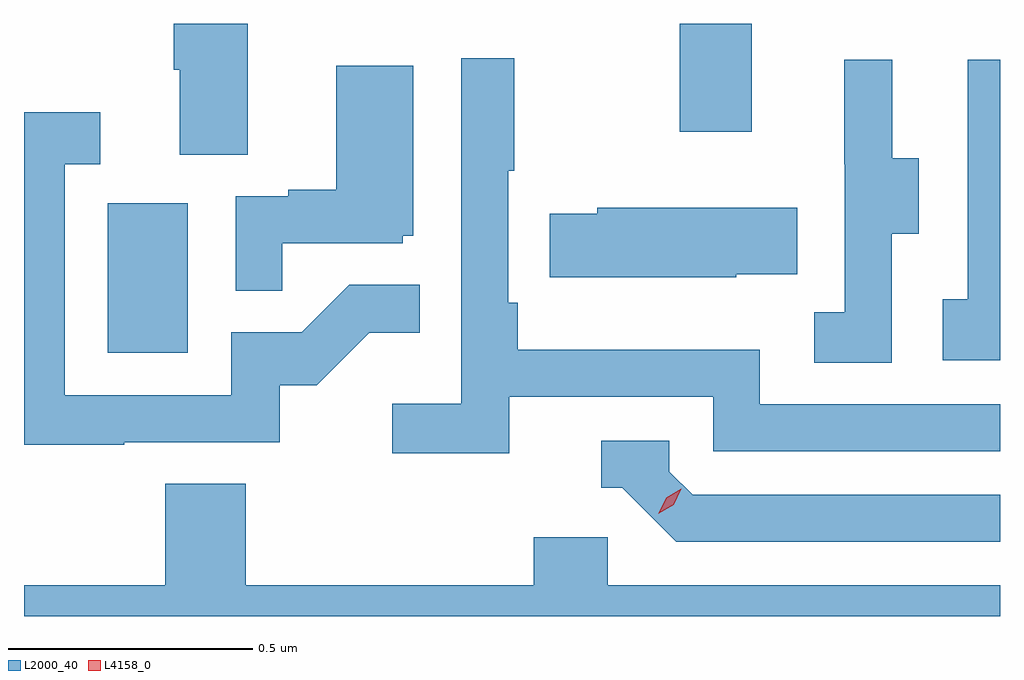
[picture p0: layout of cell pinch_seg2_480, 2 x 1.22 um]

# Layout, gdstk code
import gdstk
lib = gdstk.Library(unit=1e-6, precision=1e-09)
def R(c, l, rs):  # rectangles x0, y0, x1, y1
    for r in rs: c.add(gdstk.rectangle(r[:2], r[2:], *l))
def P(c, l, *ps):  # polygons
    for p in ps: c.add(gdstk.Polygon(p, *l))
L2000_40 = (2000, 40)
L4158_0 = (4158, 0)

pinch_seg2_480 = lib.new_cell('pinch_seg2_480')
R(pinch_seg2_480, L2000_40, [(920.786,584.34,920.95,584.647), (921.958,584.793,922.105,585.015)])
P(pinch_seg2_480, L2000_40, [(921.073,585.015),(920.921,585.015),(920.921,584.92),(920.933,584.92),(920.933,584.746),(921.073,584.746)],
  [(921.608,584.25),(922.026,584.25),(922.026,584.139),(922.614,584.139),(922.614,584.235),(922.122,584.235),(922.122,584.347),(921.626,584.347),(921.626,584.443),(921.606,584.443),(921.606,584.713),(921.619,584.713),(921.619,584.944),(921.51,584.944),(921.51,584.236),(921.369,584.236),(921.369,584.134),(921.608,584.134)],
  [(922.614,584.941),(922.548,584.941),(922.548,584.45),(922.497,584.45),(922.497,584.325),(922.614,584.325)],
  [(922.392,584.584),(922.447,584.584),(922.447,584.739),(922.393,584.739),(922.393,584.941),(922.295,584.941),(922.295,584.727),(922.296,584.727),(922.296,584.423),(922.233,584.423),(922.233,584.32),(922.392,584.32)],
  [(921.143,584.565),(921.39,584.565),(921.39,584.58),(921.412,584.58),(921.412,584.929),(921.254,584.929),(921.254,584.674),(921.155,584.674),(921.155,584.661),(921.048,584.661),(921.048,584.467),(921.143,584.467)],
  [(920.819,584.157),(921.138,584.157),(921.138,584.274),(921.214,584.274),(921.321,584.381),(921.425,584.381),(921.425,584.48),(921.281,584.48),(921.183,584.382),(921.039,584.382),(921.039,584.253),(920.697,584.253),(920.697,584.727),(920.77,584.727),(920.77,584.833),(920.614,584.833),(920.614,584.152),(920.819,584.152)],
  [(922.074,584.501),(922.199,584.501),(922.199,584.638),(921.789,584.638),(921.789,584.625),(921.691,584.625),(921.691,584.495),(922.074,584.495)],
  [(922.614,584.049),(921.984,584.049),(921.936,584.097),(921.936,584.16),(921.797,584.16),(921.797,584.064),(921.84,584.064),(921.951,583.953),(922.614,583.953)],
  [(922.614,583.864),(921.81,583.864),(921.81,583.962),(921.659,583.962),(921.659,583.864),(921.068,583.864),(921.068,584.072),(920.903,584.072),(920.903,583.864),(920.614,583.864),(920.614,583.8),(922.614,583.8)])
P(pinch_seg2_480, L4158_0, [(921.914,584.01),(921.914,584.01),(921.93,584.043),(921.961,584.062),(921.961,584.062),(921.961,584.062),(921.945,584.029),(921.914,584.01)])

lib.write_gds('pinch_seg2_480.gds')
